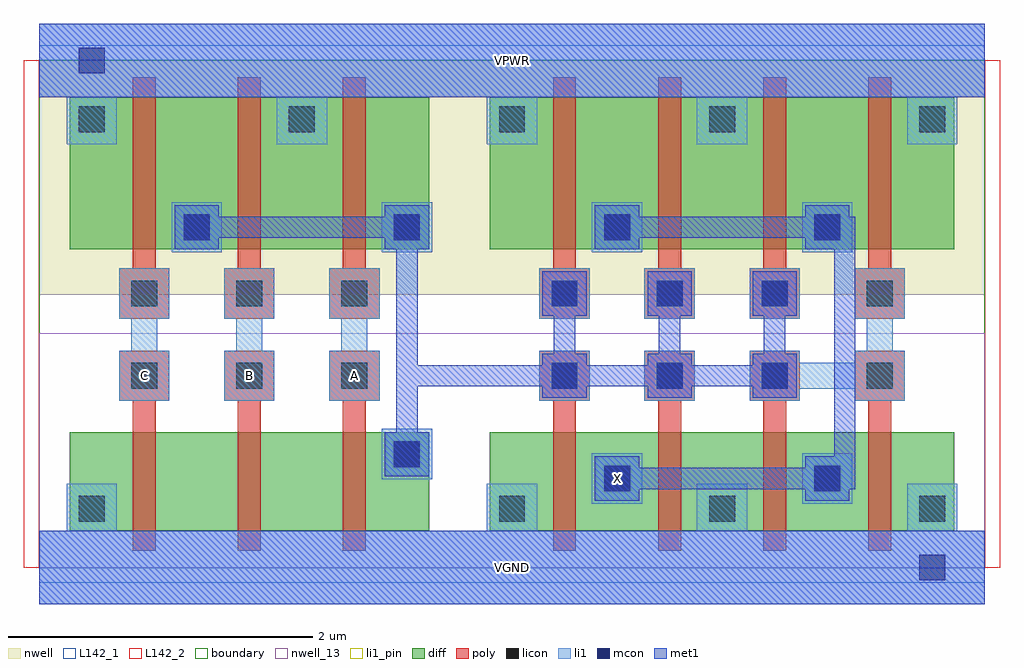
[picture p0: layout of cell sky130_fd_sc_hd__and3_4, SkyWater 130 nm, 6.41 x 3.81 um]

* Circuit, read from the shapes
.subckt sky130_fd_sc_hd__and3_4 A B C VGND VPWR X
XM1 n1 C VGND VSUBS sky130_fd_pr__nfet_01v8 w=0.65 l=0.15
XM2 n2 B n1 VSUBS sky130_fd_pr__nfet_01v8 w=0.65 l=0.15
XM3 n3 A n2 VSUBS sky130_fd_pr__nfet_01v8 w=0.65 l=0.15
XM4 X n3 VGND VSUBS sky130_fd_pr__nfet_01v8 w=0.65 l=0.15 m=4
XM5 n3 C VPWR n4 sky130_fd_pr__pfet_01v8 w=1 l=0.15
XM6 VPWR B n3 n4 sky130_fd_pr__pfet_01v8 w=1 l=0.15
XM7 n3 A VPWR n4 sky130_fd_pr__pfet_01v8 w=1 l=0.15
XM8 X n3 VPWR n4 sky130_fd_pr__pfet_01v8 w=1 l=0.15 m=4
.ends

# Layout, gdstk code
import gdstk
lib = gdstk.Library(unit=1e-6, precision=1e-09)
def R(c, l, rs):  # rectangles x0, y0, x1, y1
    for r in rs: c.add(gdstk.rectangle(r[:2], r[2:], *l))
def A(c, l, x, y, w, h, nx, ny, dx, dy):  # array of equal rectangles
    R(c, l, [(x+i*dx, y+j*dy, x+i*dx+w, y+j*dy+h) for i in range(nx) for j in range(ny)])
def P(c, l, *ps):  # polygons
    for p in ps: c.add(gdstk.Polygon(p, *l))
nwell_13 = (64, 13)
nwell = (64, 20)
diff = (65, 20)
poly = (66, 20)
licon = (66, 44)
li1_pin = (67, 16)
li1 = (67, 20)
mcon = (67, 44)
met1 = (68, 20)
L142_1 = (142, 1)
L142_2 = (142, 2)
boundary = (235, 4)

sky130_fd_sc_hd__and3_4 = lib.new_cell('sky130_fd_sc_hd__and3_4')
R(sky130_fd_sc_hd__and3_4, nwell_13, [(0,0,6.21,1.54)])
R(sky130_fd_sc_hd__and3_4, nwell, [(0,1.79,6.21,3.33)])
A(sky130_fd_sc_hd__and3_4, diff, 3.375, 0.24, 0.69, 0.65, 3, 1, 0.69, 0)
A(sky130_fd_sc_hd__and3_4, diff, 3.375, 2.09, 0.69, 1, 3, 1, 0.69, 0)
R(sky130_fd_sc_hd__and3_4, diff, [(0.2,0.24,2.56,0.89), (0.2,0.24,0.615,0.89), (0.615,0.24,1.305,0.89), (1.305,0.24,1.995,0.89), (1.995,0.24,2.56,0.89), (2.96,0.24,6.01,0.89), (2.96,0.24,3.375,0.89), (5.445,0.24,6.01,0.89), (0.2,2.09,2.56,3.09), (0.2,2.09,0.615,3.09), (0.615,2.09,1.305,3.09), (1.305,2.09,1.995,3.09), (1.995,2.09,2.56,3.09), (2.96,2.09,6.01,3.09), (2.96,2.09,3.375,3.09), (5.445,2.09,6.01,3.09)])
P(sky130_fd_sc_hd__and3_4, poly, [(1.305,0.11),(1.305,1.095),(1.215,1.095),(1.215,1.425),(1.545,1.425),(1.545,1.095),(1.455,1.095),(1.455,0.11)],
  [(1.215,1.635),(1.215,1.965),(1.305,1.965),(1.305,3.22),(1.455,3.22),(1.455,1.965),(1.545,1.965),(1.545,1.635)],
  [(3.375,0.11),(3.375,1.095),(3.285,1.095),(3.285,1.425),(3.615,1.425),(3.615,1.095),(3.525,1.095),(3.525,0.11)],
  [(4.065,0.11),(4.065,1.095),(3.975,1.095),(3.975,1.425),(4.305,1.425),(4.305,1.095),(4.215,1.095),(4.215,0.11)],
  [(4.755,0.11),(4.755,1.095),(4.665,1.095),(4.665,1.425),(4.995,1.425),(4.995,1.095),(4.905,1.095),(4.905,0.11)],
  [(5.445,0.11),(5.445,1.095),(5.355,1.095),(5.355,1.425),(5.685,1.425),(5.685,1.095),(5.595,1.095),(5.595,0.11)],
  [(3.285,1.635),(3.285,1.965),(3.375,1.965),(3.375,3.22),(3.525,3.22),(3.525,1.965),(3.615,1.965),(3.615,1.635)],
  [(3.975,1.635),(3.975,1.965),(4.065,1.965),(4.065,3.22),(4.215,3.22),(4.215,1.965),(4.305,1.965),(4.305,1.635)],
  [(4.665,1.635),(4.665,1.965),(4.755,1.965),(4.755,3.22),(4.905,3.22),(4.905,1.965),(4.995,1.965),(4.995,1.635)],
  [(5.355,1.635),(5.355,1.965),(5.445,1.965),(5.445,3.22),(5.595,3.22),(5.595,1.965),(5.685,1.965),(5.685,1.635)],
  [(0.615,0.11),(0.615,1.095),(0.525,1.095),(0.525,1.425),(0.855,1.425),(0.855,1.095),(0.765,1.095),(0.765,0.11)],
  [(0.525,1.635),(0.525,1.965),(0.615,1.965),(0.615,3.22),(0.765,3.22),(0.765,1.965),(0.855,1.965),(0.855,1.635)],
  [(1.995,0.11),(1.995,1.095),(1.905,1.095),(1.905,1.425),(2.235,1.425),(2.235,1.095),(2.145,1.095),(2.145,0.11)],
  [(1.905,1.635),(1.905,1.965),(1.995,1.965),(1.995,3.22),(2.145,3.22),(2.145,1.965),(2.235,1.965),(2.235,1.635)])
A(sky130_fd_sc_hd__and3_4, licon, 3.02, 0.3, 0.17, 0.17, 3, 1, 1.38, 0)
A(sky130_fd_sc_hd__and3_4, licon, 0.605, 1.175, 0.17, 0.17, 3, 2, 0.69, 0.54)
A(sky130_fd_sc_hd__and3_4, licon, 3.365, 1.175, 0.17, 0.17, 4, 2, 0.69, 0.54)
A(sky130_fd_sc_hd__and3_4, licon, 0.95, 2.15, 0.17, 0.17, 4, 1, 1.38, 0)
A(sky130_fd_sc_hd__and3_4, licon, 0.26, 2.86, 0.17, 0.17, 5, 1, 1.38, 0)
R(sky130_fd_sc_hd__and3_4, licon, [(0.26,0.3,0.43,0.47), (3.71,0.5,3.88,0.67), (5.09,0.5,5.26,0.67), (2.33,0.66,2.5,0.83)])
R(sky130_fd_sc_hd__and3_4, li1_pin, [(0,-0.24,6.21,0.24), (3.63,0.42,3.96,0.75), (0,3.09,6.21,3.57)])
P(sky130_fd_sc_hd__and3_4, li1_pin, [(1.905,1.095),(1.905,1.425),(1.985,1.425),(1.985,1.635),(1.905,1.635),(1.905,1.965),(2.235,1.965),(2.235,1.635),(2.155,1.635),(2.155,1.425),(2.235,1.425),(2.235,1.095)],
  [(0.525,1.095),(0.525,1.425),(0.605,1.425),(0.605,1.635),(0.525,1.635),(0.525,1.965),(0.855,1.965),(0.855,1.635),(0.775,1.635),(0.775,1.425),(0.855,1.425),(0.855,1.095)],
  [(1.215,1.095),(1.215,1.425),(1.295,1.425),(1.295,1.635),(1.215,1.635),(1.215,1.965),(1.545,1.965),(1.545,1.635),(1.465,1.635),(1.465,1.425),(1.545,1.425),(1.545,1.095)])
A(sky130_fd_sc_hd__and3_4, li1, 3.285, 1.635, 0.33, 0.33, 3, 1, 0.69, 0)
A(sky130_fd_sc_hd__and3_4, li1, 0.87, 2.07, 0.33, 0.33, 4, 1, 1.38, 0)
R(sky130_fd_sc_hd__and3_4, li1, [(3.63,0.42,3.96,0.75), (5.01,0.42,5.34,0.75), (2.25,0.58,2.58,0.91), (3.285,1.095,3.615,1.425), (3.975,1.095,4.305,1.425)])
P(sky130_fd_sc_hd__and3_4, li1, [(1.215,1.095),(1.215,1.425),(1.295,1.425),(1.295,1.635),(1.215,1.635),(1.215,1.965),(1.545,1.965),(1.545,1.635),(1.465,1.635),(1.465,1.425),(1.545,1.425),(1.545,1.095)],
  [(4.665,1.095),(4.665,1.425),(4.995,1.425),(4.995,1.345),(5.355,1.345),(5.355,1.425),(5.435,1.425),(5.435,1.635),(5.355,1.635),(5.355,1.965),(5.685,1.965),(5.685,1.635),(5.605,1.635),(5.605,1.425),(5.685,1.425),(5.685,1.095),(5.355,1.095),(5.355,1.175),(4.995,1.175),(4.995,1.095)],
  [(0.18,2.78),(0.18,3.09),(0,3.09),(0,3.57),(6.21,3.57),(6.21,3.09),(6.03,3.09),(6.03,2.78),(5.7,2.78),(5.7,3.09),(4.65,3.09),(4.65,2.78),(4.32,2.78),(4.32,3.09),(3.27,3.09),(3.27,2.78),(2.94,2.78),(2.94,3.09),(1.89,3.09),(1.89,2.78),(1.56,2.78),(1.56,3.09),(0.51,3.09),(0.51,2.78)],
  [(0.525,1.095),(0.525,1.425),(0.605,1.425),(0.605,1.635),(0.525,1.635),(0.525,1.965),(0.855,1.965),(0.855,1.635),(0.775,1.635),(0.775,1.425),(0.855,1.425),(0.855,1.095)],
  [(0,-0.24),(0,0.24),(0.18,0.24),(0.18,0.55),(0.51,0.55),(0.51,0.24),(2.94,0.24),(2.94,0.55),(3.27,0.55),(3.27,0.24),(4.32,0.24),(4.32,0.55),(4.65,0.55),(4.65,0.24),(5.7,0.24),(5.7,0.55),(6.03,0.55),(6.03,0.24),(6.21,0.24),(6.21,-0.24)],
  [(1.905,1.095),(1.905,1.425),(1.985,1.425),(1.985,1.635),(1.905,1.635),(1.905,1.965),(2.235,1.965),(2.235,1.635),(2.155,1.635),(2.155,1.425),(2.235,1.425),(2.235,1.095)])
A(sky130_fd_sc_hd__and3_4, mcon, 3.365, 1.175, 0.17, 0.17, 3, 2, 0.69, 0.54)
A(sky130_fd_sc_hd__and3_4, mcon, 0.95, 2.15, 0.17, 0.17, 4, 1, 1.38, 0)
R(sky130_fd_sc_hd__and3_4, mcon, [(5.78,-0.085,5.95,0.085), (3.71,0.5,3.88,0.67), (5.09,0.5,5.26,0.67), (2.33,0.66,2.5,0.83), (0.26,3.245,0.43,3.415)])
R(sky130_fd_sc_hd__and3_4, met1, [(0,-0.24,6.21,0.24), (0,3.09,6.21,3.57)])
P(sky130_fd_sc_hd__and3_4, met1, [(2.27,0.6),(2.27,0.89),(2.345,0.89),(2.345,2.09),(2.27,2.09),(2.27,2.165),(1.18,2.165),(1.18,2.09),(0.89,2.09),(0.89,2.38),(1.18,2.38),(1.18,2.305),(2.27,2.305),(2.27,2.38),(2.56,2.38),(2.56,2.09),(2.485,2.09),(2.485,1.33),(3.305,1.33),(3.305,1.405),(3.38,1.405),(3.38,1.655),(3.305,1.655),(3.305,1.945),(3.595,1.945),(3.595,1.655),(3.52,1.655),(3.52,1.405),(3.595,1.405),(3.595,1.33),(3.995,1.33),(3.995,1.405),(4.07,1.405),(4.07,1.655),(3.995,1.655),(3.995,1.945),(4.285,1.945),(4.285,1.655),(4.21,1.655),(4.21,1.405),(4.285,1.405),(4.285,1.33),(4.685,1.33),(4.685,1.405),(4.76,1.405),(4.76,1.655),(4.685,1.655),(4.685,1.945),(4.975,1.945),(4.975,1.655),(4.9,1.655),(4.9,1.405),(4.975,1.405),(4.975,1.115),(4.685,1.115),(4.685,1.19),(4.285,1.19),(4.285,1.115),(3.995,1.115),(3.995,1.19),(3.595,1.19),(3.595,1.115),(3.305,1.115),(3.305,1.19),(2.485,1.19),(2.485,0.89),(2.56,0.89),(2.56,0.6)],
  [(3.65,0.44),(3.65,0.73),(3.94,0.73),(3.94,0.655),(5.03,0.655),(5.03,0.73),(5.22,0.73),(5.22,2.09),(5.03,2.09),(5.03,2.165),(3.94,2.165),(3.94,2.09),(3.65,2.09),(3.65,2.38),(3.94,2.38),(3.94,2.305),(5.03,2.305),(5.03,2.38),(5.32,2.38),(5.32,2.305),(5.36,2.305),(5.36,0.515),(5.32,0.515),(5.32,0.44),(5.03,0.44),(5.03,0.515),(3.94,0.515),(3.94,0.44)])
R(sky130_fd_sc_hd__and3_4, L142_1, [(0,-0.1,6.21,0), (0,3.33,6.21,3.43)])
R(sky130_fd_sc_hd__and3_4, L142_2, [(-0.1,0,0,3.33), (6.21,0,6.31,3.33)])
R(sky130_fd_sc_hd__and3_4, boundary, [(0,0,6.21,3.33)])
sky130_fd_sc_hd__and3_4.add(gdstk.Label('X', (3.795,0.585), layer=67, texttype=5))
sky130_fd_sc_hd__and3_4.add(gdstk.Label('A', (2.07,1.26), layer=67, texttype=5))
sky130_fd_sc_hd__and3_4.add(gdstk.Label('C', (0.69,1.26), layer=67, texttype=5))
sky130_fd_sc_hd__and3_4.add(gdstk.Label('B', (1.38,1.26), layer=67, texttype=5))
sky130_fd_sc_hd__and3_4.add(gdstk.Label('VGND', (3.105,0), layer=67, texttype=5))
sky130_fd_sc_hd__and3_4.add(gdstk.Label('VPWR', (3.105,3.33), layer=67, texttype=5))
sky130_fd_sc_hd__and3_4.add(gdstk.Label('VGND', (3.105,0), layer=68, texttype=5))
sky130_fd_sc_hd__and3_4.add(gdstk.Label('VPWR', (3.105,3.33), layer=68, texttype=5))

lib.write_gds('sky130_fd_sc_hd__and3_4.gds')
